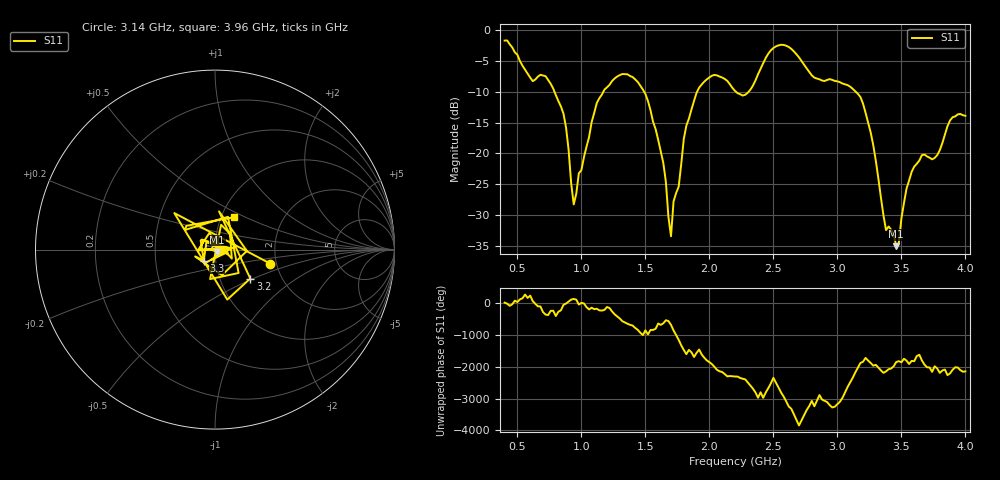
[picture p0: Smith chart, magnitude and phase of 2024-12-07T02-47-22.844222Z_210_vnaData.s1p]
!Created with skrf (http://scikit-rf.org).
# Hz S RI R 50.0
!freq ReS11 ImS11
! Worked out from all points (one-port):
!   181 points, 400 MHz to 4 GHz, reference 50 ohm
!   lowest |S11| = -35.1 dB at 3.46 GHz (marker M1), VSWR 1.04, Z = 51.2 - j1.29 ohm
!   |S11| at or under -10 dB: 790 MHz to 1.171 GHz (381 MHz wide, 38.9 % of centre); 1.491 GHz to 1.903 GHz (412.7 MHz wide, 24.3 % of centre); 3.144 GHz to end of sweep (the widest 3 of 4)
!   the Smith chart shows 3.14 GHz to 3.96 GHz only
!   S11 on the Smith chart (normalised r, x): 3.14 GHz: 1.86, -0.33; 3.2 GHz: 1.39, -0.48; 3.3 GHz: 0.88, -0.11; 3.96 GHz: 1.15, +0.43
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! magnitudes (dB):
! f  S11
! 400 MHz  -1.7
! 620 MHz  -8.3
! 720 MHz  -7.5
! 860 MHz  -13.5
! 940 MHz  -28.3
! 1.12 GHz  -11.8
! 1.3 GHz  -7.3
! 1.52 GHz  -11.5
! 1.64 GHz  -21.5
! 1.7 GHz  -33.4
! 1.72 GHz  -27.8
! 1.76 GHz  -25.4
! 1.82 GHz  -15.5
! 1.92 GHz  -9.3
! 2.04 GHz  -7.2
! 2.2 GHz  -9.8
! 2.3 GHz  -10.1
! 2.5 GHz  -2.9
! 2.66 GHz  -3.4
! 3.1 GHz  -9.2
! 3.14 GHz  -9.9
! 3.2 GHz  -11.9
! 3.3 GHz  -21.2
! 3.38 GHz  -32.4
! 3.46 GHz  -35.1
! 3.56 GHz  -24.4
! 3.96 GHz  -13.6
! 4 GHz  -13.9
